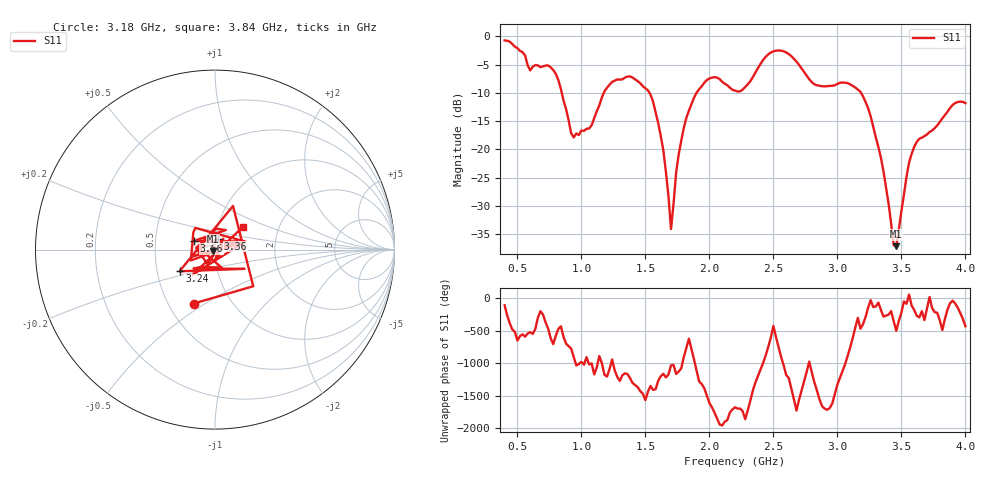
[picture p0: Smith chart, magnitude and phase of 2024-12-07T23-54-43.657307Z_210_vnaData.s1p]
!Created with skrf (http://scikit-rf.org).
# Hz S RI R 50.0
!freq ReS11 ImS11
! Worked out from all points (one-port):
!   181 points, 400 MHz to 4 GHz, reference 50 ohm
!   lowest |S11| = -37.1 dB at 3.46 GHz (marker M1), VSWR 1.03, Z = 48.9 - j0.787 ohm
!   |S11| at or under -10 dB: 846.8 MHz to 1.175 GHz (327.9 MHz wide, 32.4 % of centre); 1.532 GHz to 1.899 GHz (366.5 MHz wide, 21.4 % of centre); 3.185 GHz to end of sweep
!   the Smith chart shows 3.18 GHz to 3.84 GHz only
!   S11 on the Smith chart (normalised r, x): 3.18 GHz: 0.67, -0.45; 3.24 GHz: 0.65, -0.17; 3.36 GHz: 1.03, +0.13; 3.66 GHz: 0.79, +0.08; 3.84 GHz: 1.32, +0.35
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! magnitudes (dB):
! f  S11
! 400 MHz  -0.7
! 600 MHz  -6.0
! 760 MHz  -5.5
! 860 MHz  -11.3
! 940 MHz  -17.9
! 1.06 GHz  -16.3
! 1.3 GHz  -7.6
! 1.4 GHz  -7.3
! 1.56 GHz  -11.6
! 1.64 GHz  -20.1
! 1.7 GHz  -34.1
! 1.76 GHz  -20.9
! 1.84 GHz  -13.1
! 1.96 GHz  -8.2
! 2.2 GHz  -9.6
! 2.48 GHz  -2.8
! 2.66 GHz  -3.9
! 2.82 GHz  -8.5
! 3.1 GHz  -8.5
! 3.18 GHz  -9.8
! 3.24 GHz  -12.7
! 3.36 GHz  -23.9
! 3.44 GHz  -36.9
! 3.46 GHz  -37.1
! 3.56 GHz  -22.3
! 3.66 GHz  -17.9
! 3.84 GHz  -13.9
! 4 GHz  -11.8
